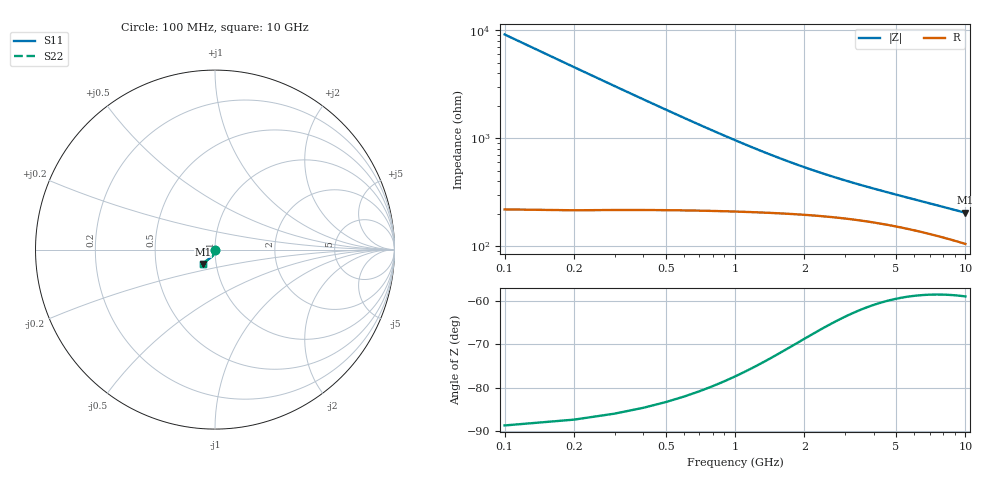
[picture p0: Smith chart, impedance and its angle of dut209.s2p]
! Touchstone file exported from HFSS 2024.1.0
!  File:  C:/UserFiles/LocalFiles/RDL_TSV_Batchsim/temp_TSV1_209_1778757826.aedt
!  Generated:  07:27:56 PM May 14, 2026
!  Design:  TSV1
!  Project:  temp_TSV1_209_1778757826
!  Setup:  Setup1
!  Solution:  Sweep
! Variables:
!  dtsv = 19.36um
!  hbump = 3um
!  htsv = 74.55um
!  lrdl = 252.1521522um
!  p = 40
!  p1 = 41.1um
!  t = 500um
!  trdl = 3um
!  wrdl = 24.89489489um
# GHz S MA R 50.000000
! Terminal data exported
! Port[1] = TSV22_T1
! Port[2] = TSV22_T2
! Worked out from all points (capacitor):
!   100 points, 100 MHz to 10 GHz, reference 50 ohm
!   read as one part in shunt: C = 175 fF near 100 MHz
!   lowest |Z| = 204 ohm at 10 GHz (marker M1)
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0.1  0.00255 -89.7  0.9998 -0.2  0.9998 -0.2  0.00255 -89.7
! Gamma 0 0 0 0
! Port Impedance 50 0 50 0
0.2  0.005134 -92.0  0.9996 -0.3  0.9996 -0.3  0.005134 -92.0
0.3  0.007692 -93.8  0.9992 -0.5  0.9992 -0.5  0.007692 -93.8
0.4  0.01022 -95.5  0.9987 -0.7  0.9987 -0.7  0.01022 -95.5
0.5  0.01271 -97.0  0.9981 -0.8  0.9981 -0.8  0.01271 -97.0
0.6  0.01516 -98.6  0.9974 -1.0  0.9974 -1.0  0.01516 -98.6
0.7  0.01756 -100.0  0.9966 -1.1  0.9966 -1.1  0.01756 -100.0
0.8  0.0199 -101.4  0.9957 -1.3  0.9957 -1.3  0.0199 -101.4
0.9  0.02218 -102.8  0.9947 -1.4  0.9947 -1.4  0.02218 -102.8
1.1  0.02656 -105.3  0.9926 -1.7  0.9926 -1.7  0.02656 -105.3
1.4  0.03261 -108.8  0.9892 -2.0  0.9892 -2.0  0.03261 -108.8
1.6  0.03631 -110.9  0.9868 -2.2  0.9868 -2.2  0.03631 -110.9
1.8  0.03975 -112.8  0.9845 -2.4  0.9845 -2.4  0.03975 -112.8
2.1  0.04446 -115.3  0.981 -2.7  0.981 -2.7  0.04446 -115.3
2.5  0.05001 -118.1  0.9766 -3.0  0.9766 -3.0  0.05001 -118.1
2.9  0.05488 -120.3  0.9726 -3.2  0.9726 -3.2  0.05488 -120.3
3.4  0.06024 -122.5  0.9681 -3.5  0.9681 -3.5  0.06024 -122.5
4.2  0.06762 -124.9  0.962 -3.9  0.962 -3.9  0.06762 -124.9
5.1  0.0748 -126.7  0.9563 -4.4  0.9563 -4.4  0.0748 -126.7
6.7  0.08577 -128.6  0.9481 -5.0  0.9481 -5.0  0.08577 -128.6
8.4  0.09591 -129.5  0.9412 -5.7  0.9412 -5.7  0.09591 -129.5
10  0.1046 -130.0  0.9359 -6.4  0.9359 -6.4  0.1046 -130.0
